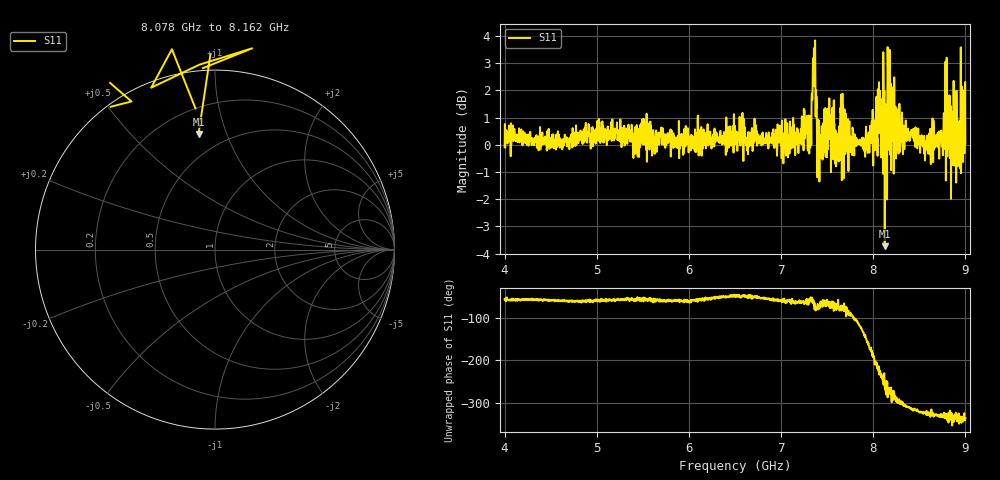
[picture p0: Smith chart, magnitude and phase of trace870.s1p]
! Created with skrf 1.8.0 (http://scikit-rf.org).
# Hz S RI R 50.0
!freq ReS11 ImS11
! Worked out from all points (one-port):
!   1601 points, 4 GHz to 9 GHz, reference 50 ohm
!   lowest |S11| = -3.7 dB at 8.125 GHz (marker M1), VSWR 4.73, Z = 17.9 + j40.1 ohm
!   |S11| at or under -10 dB: nowhere
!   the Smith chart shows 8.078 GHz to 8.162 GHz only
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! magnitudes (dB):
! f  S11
! 4 GHz  -0.1
! 4.625 GHz  -0.2
! 5.25 GHz  0.3
! 5.875 GHz  0.3
! 6.5 GHz  0.7
! 7.038 GHz  0.2
! 7.125 GHz  0.7
! 7.303 GHz  -0.1
! 7.359 GHz  3.4
! 7.4 GHz  0.9
! 7.416 GHz  -1.4
! 7.534 GHz  0.7
! 7.609 GHz  0.4
! 7.669 GHz  0.5
! 7.75 GHz  0.3
! 7.938 GHz  0.3
! 8.088 GHz  -0.5
! 8.125 GHz  -3.7
! 8.178 GHz  3.5
! 8.209 GHz  2.1
! 8.238 GHz  0.2
! 8.375 GHz  0.5
! 8.588 GHz  0.1
! 8.731 GHz  0.3
! 8.803 GHz  -0.4
! 8.856 GHz  1.2
! 8.972 GHz  0.5
! 9 GHz  0.0
